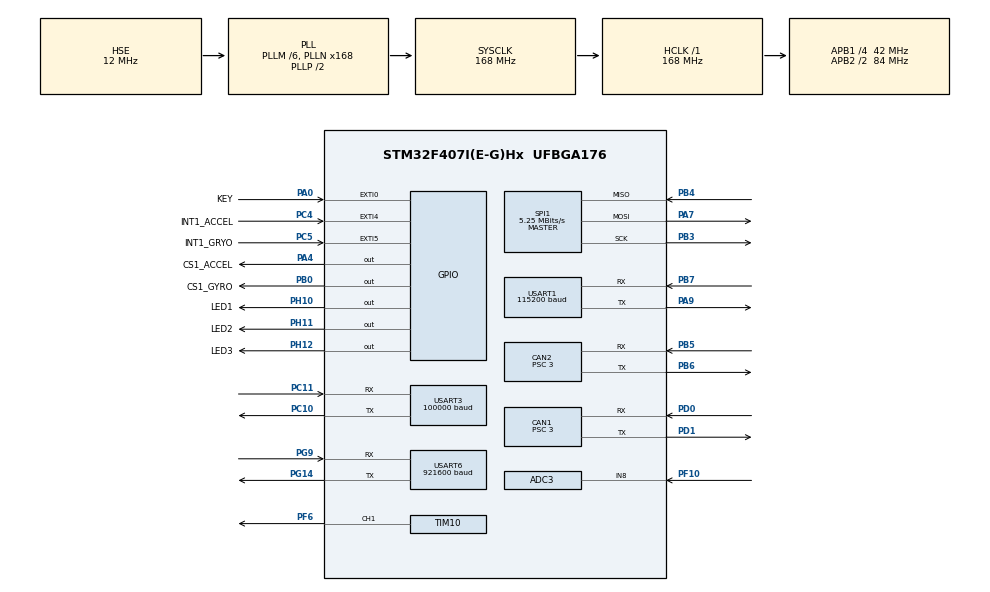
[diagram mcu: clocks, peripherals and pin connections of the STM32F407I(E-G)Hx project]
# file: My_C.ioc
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ADC1.Channel-0\#ChannelRegularConversion=ADC_CHANNEL_VREFINT
ADC1.NbrOfConversionFlag=1
ADC1.Rank-0\#ChannelRegularConversion=1
ADC1.SamplingTime-0\#ChannelRegularConversion=ADC_SAMPLETIME_3CYCLES
ADC1.master=1
ADC3.Channel-0\#ChannelRegularConversion=ADC_CHANNEL_8
ADC3.NbrOfConversionFlag=1
ADC3.Rank-0\#ChannelRegularConversion=1
ADC3.SamplingTime-0\#ChannelRegularConversion=ADC_SAMPLETIME_3CYCLES
CAN1.ABOM=ENABLE
CAN1.AWUM=ENABLE
CAN1.BS1=CAN_BS1_10TQ
CAN1.BS2=CAN_BS2_3TQ
CAN1.CalculateBaudRate=1000000
CAN1.CalculateTimeBit=1000
CAN1.CalculateTimeQuantum=71.42857142857143
CAN1.Prescaler=3
CAN1.TXFP=ENABLE
CAN2.ABOM=ENABLE
CAN2.AWUM=ENABLE
CAN2.BS1=CAN_BS1_10TQ
CAN2.BS2=CAN_BS2_3TQ
CAN2.CalculateBaudRate=1000000
CAN2.CalculateTimeBit=1000
CAN2.CalculateTimeQuantum=71.42857142857143
CAN2.Prescaler=3
CAN2.TXFP=ENABLE
Dma.Request0=SPI1_RX
Dma.Request1=SPI1_TX
Dma.Request2=USART3_RX
Dma.Request3=USART1_RX
Dma.Request4=USART1_TX
Dma.Request5=USART6_RX
Dma.Request6=USART6_TX
Dma.SPI1_RX.0.Direction=DMA_PERIPH_TO_MEMORY
Dma.SPI1_RX.0.FIFOMode=DMA_FIFOMODE_DISABLE
Dma.SPI1_RX.0.Instance=DMA2_Stream0
Dma.SPI1_RX.0.MemDataAlignment=DMA_MDATAALIGN_BYTE
Dma.SPI1_RX.0.MemInc=DMA_MINC_ENABLE
Dma.SPI1_RX.0.Mode=DMA_NORMAL
Dma.SPI1_RX.0.PeriphDataAlignment=DMA_PDATAALIGN_BYTE
Dma.SPI1_RX.0.PeriphInc=DMA_PINC_DISABLE
Dma.SPI1_RX.0.Priority=DMA_PRIORITY_VERY_HIGH
Dma.SPI1_TX.1.Direction=DMA_MEMORY_TO_PERIPH
Dma.SPI1_TX.1.FIFOMode=DMA_FIFOMODE_DISABLE
Dma.SPI1_TX.1.Instance=DMA2_Stream3
Dma.SPI1_TX.1.MemDataAlignment=DMA_MDATAALIGN_BYTE
Dma.SPI1_TX.1.MemInc=DMA_MINC_ENABLE
Dma.SPI1_TX.1.Mode=DMA_NORMAL
Dma.SPI1_TX.1.PeriphDataAlignment=DMA_PDATAALIGN_BYTE
Dma.SPI1_TX.1.PeriphInc=DMA_PINC_DISABLE
Dma.SPI1_TX.1.Priority=DMA_PRIORITY_HIGH
Dma.USART1_RX.3.Direction=DMA_PERIPH_TO_MEMORY
Dma.USART1_RX.3.FIFOMode=DMA_FIFOMODE_DISABLE
Dma.USART1_RX.3.Instance=DMA2_Stream2
Dma.USART1_RX.3.MemDataAlignment=DMA_MDATAALIGN_BYTE
Dma.USART1_RX.3.MemInc=DMA_MINC_ENABLE
Dma.USART1_RX.3.Mode=DMA_CIRCULAR
Dma.USART1_RX.3.PeriphDataAlignment=DMA_PDATAALIGN_BYTE
Dma.USART1_RX.3.PeriphInc=DMA_PINC_DISABLE
Dma.USART1_RX.3.Priority=DMA_PRIORITY_VERY_HIGH
Dma.USART1_TX.4.Direction=DMA_MEMORY_TO_PERIPH
Dma.USART1_TX.4.FIFOMode=DMA_FIFOMODE_DISABLE
Dma.USART1_TX.4.Instance=DMA2_Stream7
Dma.USART1_TX.4.MemDataAlignment=DMA_MDATAALIGN_BYTE
Dma.USART1_TX.4.MemInc=DMA_MINC_ENABLE
Dma.USART1_TX.4.Mode=DMA_NORMAL
Dma.USART1_TX.4.PeriphDataAlignment=DMA_PDATAALIGN_BYTE
Dma.USART1_TX.4.PeriphInc=DMA_PINC_DISABLE
Dma.USART1_TX.4.Priority=DMA_PRIORITY_VERY_HIGH
Dma.USART3_RX.2.Direction=DMA_PERIPH_TO_MEMORY
Dma.USART3_RX.2.FIFOMode=DMA_FIFOMODE_DISABLE
Dma.USART3_RX.2.Instance=DMA1_Stream1
Dma.USART3_RX.2.MemDataAlignment=DMA_MDATAALIGN_BYTE
Dma.USART3_RX.2.MemInc=DMA_MINC_ENABLE
Dma.USART3_RX.2.Mode=DMA_CIRCULAR
Dma.USART3_RX.2.PeriphDataAlignment=DMA_PDATAALIGN_BYTE
Dma.USART3_RX.2.PeriphInc=DMA_PINC_DISABLE
Dma.USART3_RX.2.Priority=DMA_PRIORITY_HIGH
Dma.USART6_RX.5.Direction=DMA_PERIPH_TO_MEMORY
Dma.USART6_RX.5.FIFOMode=DMA_FIFOMODE_DISABLE
Dma.USART6_RX.5.Instance=DMA2_Stream1
Dma.USART6_RX.5.MemDataAlignment=DMA_MDATAALIGN_BYTE
Dma.USART6_RX.5.MemInc=DMA_MINC_ENABLE
Dma.USART6_RX.5.Mode=DMA_CIRCULAR
Dma.USART6_RX.5.PeriphDataAlignment=DMA_PDATAALIGN_BYTE
Dma.USART6_RX.5.PeriphInc=DMA_PINC_DISABLE
Dma.USART6_RX.5.Priority=DMA_PRIORITY_HIGH
Dma.USART6_TX.6.Direction=DMA_MEMORY_TO_PERIPH
Dma.USART6_TX.6.FIFOMode=DMA_FIFOMODE_DISABLE
Dma.USART6_TX.6.Instance=DMA2_Stream6
Dma.USART6_TX.6.MemDataAlignment=DMA_MDATAALIGN_BYTE
Dma.USART6_TX.6.MemInc=DMA_MINC_ENABLE
Dma.USART6_TX.6.Mode=DMA_NORMAL
Dma.USART6_TX.6.PeriphDataAlignment=DMA_PDATAALIGN_BYTE
Dma.USART6_TX.6.PeriphInc=DMA_PINC_DISABLE
Dma.USART6_TX.6.Priority=DMA_PRIORITY_LOW
FREERTOS.Tasks01=MonitorTask,3,512,StartMonitorTask,As weak,NULL,Dynamic,NULL,NULL;CommunityTask,2,512,StartCommunityTask,As weak,NULL,Dynamic,NULL,NULL;ControlTask,3,1024,StartControlTask,As weak,NULL,Dynamic,NULL,NULL;LedTask,1,128,StartLedTask,As weak,NULL,Dynamic,NULL,NULL;BMI088Task,0,256,StartBMI088Task,As weak,NULL,Dynamic,NULL,NULL
Mcu.Family=STM32F4
Mcu.Name=STM32F407I(E-G)Hx
Mcu.Package=UFBGA176
NVIC.CAN1_RX0_IRQn=true\:5\:0\:false\:false\:true\:true\:true\:true\:true
NVIC.CAN2_RX0_IRQn=true\:5\:0\:false\:false\:true\:true\:true\:true\:true
NVIC.DMA1_Stream1_IRQn=true\:5\:0\:false\:false\:true\:true\:false\:true\:true
NVIC.DMA2_Stream0_IRQn=true\:5\:0\:false\:false\:true\:true\:false\:true\:true
NVIC.DMA2_Stream1_IRQn=true\:5\:0\:false\:false\:true\:true\:false\:true\:true
NVIC.DMA2_Stream2_IRQn=true\:5\:0\:false\:false\:true\:true\:false\:true\:true
NVIC.DMA2_Stream3_IRQn=true\:5\:0\:false\:false\:true\:true\:false\:true\:true
NVIC.DMA2_Stream6_IRQn=true\:5\:0\:false\:false\:true\:true\:false\:true\:true
NVIC.DMA2_Stream7_IRQn=true\:5\:0\:false\:false\:true\:true\:false\:true\:true
NVIC.EXTI0_IRQn=true\:5\:0\:false\:false\:true\:true\:true\:true\:true
NVIC.EXTI4_IRQn=true\:5\:0\:false\:false\:true\:true\:true\:true\:true
NVIC.EXTI9_5_IRQn=true\:5\:0\:false\:false\:true\:true\:true\:true\:true
NVIC.PriorityGroup=NVIC_PRIORITYGROUP_4
NVIC.TIM2_IRQn=true\:15\:0\:false\:false\:true\:false\:false\:true\:true
NVIC.TIM4_IRQn=true\:5\:0\:false\:false\:true\:true\:true\:true\:true
NVIC.TimeBase=TIM2_IRQn
NVIC.TimeBaseIP=TIM2
NVIC.USART1_IRQn=true\:5\:0\:false\:false\:true\:true\:true\:true\:true
NVIC.USART3_IRQn=true\:5\:0\:false\:false\:true\:true\:true\:true\:true
NVIC.USART6_IRQn=true\:5\:0\:false\:false\:true\:true\:true\:true\:true
PA0-WKUP.GPIO_Label=KEY
PA0-WKUP.GPIO_ModeDefaultEXTI=GPIO_MODE_IT_FALLING
PA0-WKUP.GPIO_PuPd=GPIO_PULLUP
PA0-WKUP.Signal=GPXTI0
PA13.Mode=Serial_Wire
PA13.Signal=SYS_JTMS-SWDIO
PA14.Mode=Serial_Wire
PA14.Signal=SYS_JTCK-SWCLK
PA4.GPIO_Label=CS1_ACCEL
PA4.GPIO_PuPd=GPIO_PULLUP
PA4.GPIO_Speed=GPIO_SPEED_FREQ_HIGH
PA4.PinState=GPIO_PIN_SET
PA4.Signal=GPIO_Output
PA7.Mode=Full_Duplex_Master
PA7.Signal=SPI1_MOSI
PA9.Mode=Asynchronous
PA9.Signal=USART1_TX
PB0.GPIO_Label=CS1_GYRO
PB0.GPIO_PuPd=GPIO_PULLUP
PB0.GPIO_Speed=GPIO_SPEED_FREQ_HIGH
PB0.PinState=GPIO_PIN_SET
PB0.Signal=GPIO_Output
PB3.Mode=Full_Duplex_Master
PB3.Signal=SPI1_SCK
PB4.Mode=Full_Duplex_Master
PB4.Signal=SPI1_MISO
PB5.Mode=CAN_Activate
PB5.Signal=CAN2_RX
PB6.Mode=CAN_Activate
PB6.Signal=CAN2_TX
PB7.Mode=Asynchronous
PB7.Signal=USART1_RX
PC10.Mode=Asynchronous
PC10.Signal=USART3_TX
PC11.Mode=Asynchronous
PC11.Signal=USART3_RX
PC4.GPIO_Label=INT1_ACCEL
PC4.GPIO_ModeDefaultEXTI=GPIO_MODE_IT_FALLING
PC4.GPIO_PuPd=GPIO_PULLUP
PC4.Signal=GPXTI4
PC5.GPIO_Label=INT1_GRYO
PC5.GPIO_ModeDefaultEXTI=GPIO_MODE_IT_FALLING
PC5.GPIO_PuPd=GPIO_PULLUP
PC5.Signal=GPXTI5
PD0.Mode=CAN_Activate
PD0.Signal=CAN1_RX
PD1.Mode=CAN_Activate
PD1.Signal=CAN1_TX
PF10.Mode=IN8
PF10.Signal=ADC3_IN8
PF6.GPIO_PuPd=GPIO_PULLUP
PF6.GPIO_Speed=GPIO_SPEED_FREQ_HIGH
PF6.Signal=S_TIM10_CH1
PG14.Mode=Asynchronous
PG14.Signal=USART6_TX
PG9.Mode=Asynchronous
PG9.Signal=USART6_RX
PH0-OSC_IN.Mode=HSE-External-Oscillator
PH0-OSC_IN.Signal=RCC_OSC_IN
PH1-OSC_OUT.Mode=HSE-External-Oscillator
PH1-OSC_OUT.Signal=RCC_OSC_OUT
PH10.GPIO_Label=LED1
PH10.Signal=GPIO_Output
PH11.GPIO_Label=LED2
PH11.Signal=GPIO_Output
PH12.GPIO_Label=LED3
PH12.Signal=GPIO_Output
ProjectManager.HeapSize=0x2000
ProjectManager.StackSize=0x400
ProjectManager.TargetToolchain=MDK-ARM V5.32
RCC.48MHZClocksFreq_Value=84000000
RCC.AHBFreq_Value=168000000
RCC.APB1CLKDivider=RCC_HCLK_DIV4
RCC.APB1Freq_Value=42000000
RCC.APB1TimFreq_Value=84000000
RCC.APB2CLKDivider=RCC_HCLK_DIV2
RCC.APB2Freq_Value=84000000
RCC.APB2TimFreq_Value=168000000
RCC.CortexFreq_Value=168000000
RCC.HCLKFreq_Value=168000000
RCC.HSE_VALUE=12000000
RCC.HSI_VALUE=16000000
RCC.LSE_VALUE=32768
RCC.PLLM=6
RCC.PLLN=168
RCC.PLLSourceVirtual=RCC_PLLSOURCE_HSE
RCC.SYSCLKFreq_VALUE=168000000
RCC.SYSCLKSource=RCC_SYSCLKSOURCE_PLLCLK
RCC.VCOOutputFreq_Value=336000000
SH.S_TIM10_CH1.0=TIM10_CH1,PWM Generation1 CH1
SPI1.BaudRatePrescaler=SPI_BAUDRATEPRESCALER_16
SPI1.CLKPhase=SPI_PHASE_2EDGE
SPI1.CLKPolarity=SPI_POLARITY_HIGH
SPI1.CalculateBaudRate=5.25 MBits/s
SPI1.Direction=SPI_DIRECTION_2LINES
SPI1.Mode=SPI_MODE_MASTER
SPI1.VirtualType=VM_MASTER
TIM10.Channel=TIM_CHANNEL_1
TIM10.Period=4999
TIM4.AutoReloadPreload=TIM_AUTORELOAD_PRELOAD_ENABLE
TIM4.Period=499
TIM4.Prescaler=83
USART1.BaudRate=115200
USART1.VirtualMode=VM_ASYNC
USART3.BaudRate=100000
USART3.Parity=PARITY_EVEN
USART3.VirtualMode=VM_ASYNC
USART6.BaudRate=921600
USART6.VirtualMode=VM_ASYNC
VP_ADC1_TempSens_Input.Mode=IN-TempSens
VP_ADC1_Vref_Input.Mode=IN-Vrefint
VP_FREERTOS_VS_CMSIS_V1.Mode=CMSIS_V1
VP_IWDG_VS_IWDG.Mode=IWDG_Activate
VP_SYS_VS_tim2.Mode=TIM2
VP_TIM10_VS_ClockSourceINT.Mode=Enable_Timer
VP_TIM4_VS_ClockSourceINT.Mode=Internal
board=custom

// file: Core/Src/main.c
/* USER CODE BEGIN Header */
/**
  ******************************************************************************
  * @file           : main.c
  * @brief          : Main program body
  ******************************************************************************
  * @attention
  *
  * Copyright (c) 2024 STMicroelectronics.
  * All rights reserved.
  *
  * This software is licensed under terms that can be found in the LICENSE file
  * in the root directory of this software component.
  * If no LICENSE file comes with this software, it is provided AS-IS.
  *
  ******************************************************************************
  */
/* USER CODE END Header */
#include "main.h"
#include "cmsis_os.h"
#include "adc.h"
#include "can.h"
#include "dma.h"
#include "spi.h"
#include "tim.h"
#include "usart.h"
#include "gpio.h"

/* USER CODE BEGIN Includes */
#include "iwdg.h"
#include "driver.h"
#include "device.h"
#include "ui.h"
/* USER CODE END Includes */

void SystemClock_Config(void);
void MX_FREERTOS_Init(void);

int main(void)
{

  /* MCU Configuration--------------------------------------------------------*/

  /* Reset of all peripherals, Initializes the Flash interface and the Systick. */
  HAL_Init();

  /* Configure the system clock */
  SystemClock_Config();

  /* Initialize all configured peripherals */
  MX_GPIO_Init();
  MX_DMA_Init();
  MX_SPI1_Init();
  MX_TIM10_Init();
  MX_CAN1_Init();
  MX_CAN2_Init();
  MX_USART3_UART_Init();
  MX_USART1_UART_Init();
  MX_USART6_UART_Init();
  MX_TIM4_Init();
  MX_ADC1_Init();
  MX_ADC3_Init();
  /* USER CODE BEGIN 2 */

	CAN_Filter_Init();
	My_Ui_Init();
  MX_IWDG_Init();

	DEVICE_Init();
	DRIVER_Init();

  /* USER CODE END 2 */

  /* Call init function for freertos objects (in cmsis_os2.c) */
  MX_FREERTOS_Init();

  /* Start scheduler */
  osKernelStart();

  /* We should never get here as control is now taken by the scheduler */

  /* Infinite loop */
  while (1)
  {

  }
}

void SystemClock_Config(void)
{
  RCC_OscInitTypeDef RCC_OscInitStruct = {0};
  RCC_ClkInitTypeDef RCC_ClkInitStruct = {0};

  /** Configure the main internal regulator output voltage
  */
  __HAL_RCC_PWR_CLK_ENABLE();
  __HAL_PWR_VOLTAGESCALING_CONFIG(PWR_REGULATOR_VOLTAGE_SCALE1);

  /** Initializes the RCC Oscillators according to the specified parameters
  * in the RCC_OscInitTypeDef structure.
  */
  RCC_OscInitStruct.OscillatorType = RCC_OSCILLATORTYPE_LSI|RCC_OSCILLATORTYPE_HSE;
  RCC_OscInitStruct.HSEState = RCC_HSE_ON;
  RCC_OscInitStruct.LSIState = RCC_LSI_ON;
  RCC_OscInitStruct.PLL.PLLState = RCC_PLL_ON;
  RCC_OscInitStruct.PLL.PLLSource = RCC_PLLSOURCE_HSE;
  RCC_OscInitStruct.PLL.PLLM = 6;
  RCC_OscInitStruct.PLL.PLLN = 168;
  RCC_OscInitStruct.PLL.PLLP = RCC_PLLP_DIV2;
  RCC_OscInitStruct.PLL.PLLQ = 4;
  if (HAL_RCC_OscConfig(&RCC_OscInitStruct) != HAL_OK)
  {
    Error_Handler();
  }

  /** Initializes the CPU, AHB and APB buses clocks
  */
  RCC_ClkInitStruct.ClockType = RCC_CLOCKTYPE_HCLK|RCC_CLOCKTYPE_SYSCLK
                              |RCC_CLOCKTYPE_PCLK1|RCC_CLOCKTYPE_PCLK2;
  RCC_ClkInitStruct.SYSCLKSource = RCC_SYSCLKSOURCE_PLLCLK;
  RCC_ClkInitStruct.AHBCLKDivider = RCC_SYSCLK_DIV1;
  RCC_ClkInitStruct.APB1CLKDivider = RCC_HCLK_DIV4;
  RCC_ClkInitStruct.APB2CLKDivider = RCC_HCLK_DIV2;

  if (HAL_RCC_ClockConfig(&RCC_ClkInitStruct, FLASH_LATENCY_5) != HAL_OK)
  {
    Error_Handler();
  }
}

void HAL_TIM_PeriodElapsedCallback(TIM_HandleTypeDef *htim)
{
  /* USER CODE BEGIN Callback 0 */
	static uint16_t i = 0;
	if (htim->Instance == TIM4)
	{
		if (i++ == 60000)
		{
			i = 0;
		}

		if ((imu_sensor.work_state.err_code == IMU_NONE_ERR) || \
				(imu_sensor.work_state.err_code == IMU_DATA_CALI))
		{
			imu_sensor.update(&imu_sensor);
		}

	}
  /* USER CODE END Callback 0 */
  if (htim->Instance == TIM2)
  {
    HAL_IncTick();
  }
}

void Error_Handler(void)
{
  __disable_irq();
  while (1)
  {
  }
}
